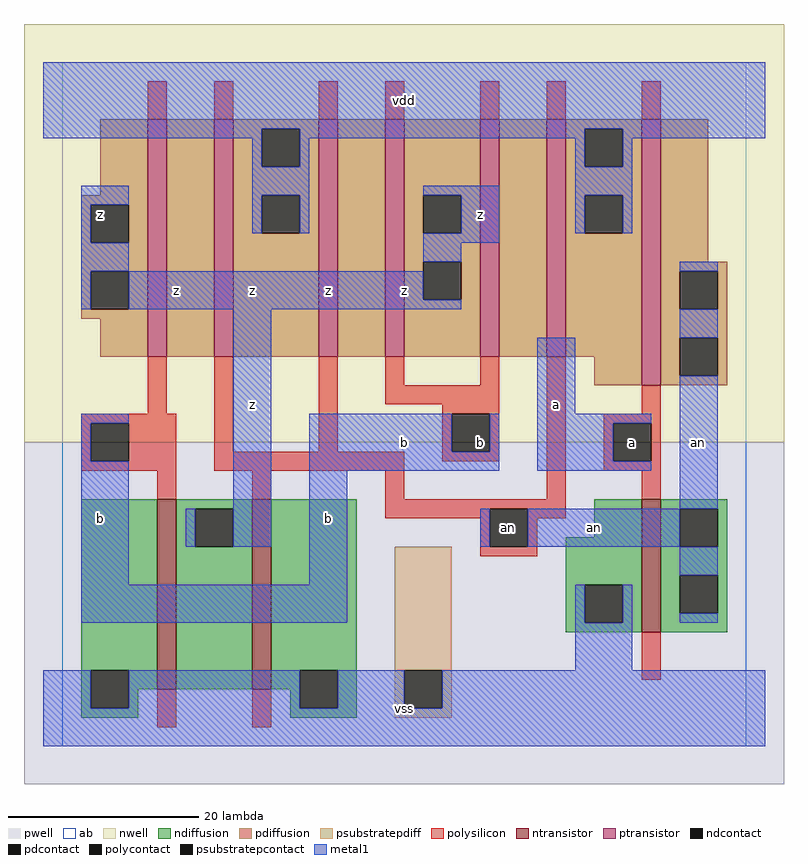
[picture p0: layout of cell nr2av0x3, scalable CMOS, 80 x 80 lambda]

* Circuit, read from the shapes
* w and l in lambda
.subckt nr2av0x3 a an b vdd vss z
M1 z b vss vss nfet w=20 l=2
M2 vss an z vss nfet w=20 l=2
M3 an a vss vss nfet w=14 l=2
M4 n1 b z n2 pfet w=25 l=2
M5 vdd an n1 n2 pfet w=25 l=2
M6 n3 an vdd n2 pfet w=25 l=2
M7 z b n3 n2 pfet w=25 l=2
M8 n4 b z n2 pfet w=25 l=2
M9 vdd an n4 n2 pfet w=25 l=2
M10 an a vdd n2 pfet w=28 l=2
.ends

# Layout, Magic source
magic
tech scmos
<< ab >>
rect 0 0 72 72
<< pwell >>
rect -4 -4 76 32
<< nwell >>
rect -4 32 76 76
<< polysilicon >>
rect 9 66 11 70
rect 16 66 18 70
rect 27 66 29 70
rect 34 66 36 70
rect 44 66 46 70
rect 51 66 53 70
rect 61 66 63 70
rect 9 35 11 41
rect 2 34 12 35
rect 2 30 3 34
rect 7 30 12 34
rect 2 29 12 30
rect 16 31 18 41
rect 27 31 29 41
rect 34 38 36 41
rect 44 38 46 41
rect 34 36 46 38
rect 40 35 46 36
rect 40 31 41 35
rect 45 31 46 35
rect 16 29 36 31
rect 40 30 46 31
rect 10 26 12 29
rect 20 26 22 29
rect 34 26 36 29
rect 51 26 53 41
rect 61 35 63 38
rect 57 34 63 35
rect 57 30 58 34
rect 62 30 63 34
rect 57 29 63 30
rect 61 26 63 29
rect 34 25 53 26
rect 34 24 45 25
rect 44 21 45 24
rect 49 24 53 25
rect 49 21 50 24
rect 10 2 12 6
rect 20 2 22 6
rect 44 20 50 21
rect 61 7 63 12
<< ndiffusion >>
rect 2 8 10 26
rect 2 4 3 8
rect 7 6 10 8
rect 12 25 20 26
rect 12 21 14 25
rect 18 21 20 25
rect 12 6 20 21
rect 22 8 31 26
rect 56 22 61 26
rect 22 6 25 8
rect 7 4 8 6
rect 2 3 8 4
rect 24 4 25 6
rect 29 4 31 8
rect 24 3 31 4
rect 53 17 61 22
rect 53 13 55 17
rect 59 13 61 17
rect 53 12 61 13
rect 63 25 70 26
rect 63 21 65 25
rect 69 21 70 25
rect 63 18 70 21
rect 63 14 65 18
rect 69 14 70 18
rect 63 12 70 14
<< pdiffusion >>
rect 4 58 9 66
rect 2 57 9 58
rect 2 53 3 57
rect 7 53 9 57
rect 2 50 9 53
rect 2 46 3 50
rect 7 46 9 50
rect 2 45 9 46
rect 4 41 9 45
rect 11 41 16 66
rect 18 65 27 66
rect 18 61 21 65
rect 25 61 27 65
rect 18 58 27 61
rect 18 54 21 58
rect 25 54 27 58
rect 18 41 27 54
rect 29 41 34 66
rect 36 58 44 66
rect 36 54 38 58
rect 42 54 44 58
rect 36 51 44 54
rect 36 47 38 51
rect 42 47 44 51
rect 36 41 44 47
rect 46 41 51 66
rect 53 65 61 66
rect 53 61 55 65
rect 59 61 61 65
rect 53 58 61 61
rect 53 54 55 58
rect 59 54 61 58
rect 53 41 61 54
rect 56 38 61 41
rect 63 51 68 66
rect 63 50 70 51
rect 63 46 65 50
rect 69 46 70 50
rect 63 43 70 46
rect 63 39 65 43
rect 69 39 70 43
rect 63 38 70 39
<< metal1 >>
rect -2 65 74 72
rect -2 64 21 65
rect 20 61 21 64
rect 25 64 55 65
rect 25 61 26 64
rect 2 57 7 59
rect 2 53 3 57
rect 20 58 26 61
rect 54 61 55 64
rect 59 64 74 65
rect 59 61 60 64
rect 20 54 21 58
rect 25 54 26 58
rect 38 58 46 59
rect 42 54 46 58
rect 54 58 60 61
rect 54 54 55 58
rect 59 54 60 58
rect 2 50 7 53
rect 38 53 46 54
rect 38 51 42 53
rect 2 46 3 50
rect 7 47 38 50
rect 7 46 42 47
rect 65 50 69 51
rect 2 34 7 35
rect 2 30 3 34
rect 2 17 7 30
rect 13 21 14 25
rect 18 21 22 46
rect 65 43 69 46
rect 50 35 54 43
rect 26 31 41 35
rect 45 31 46 35
rect 26 29 46 31
rect 50 34 62 35
rect 50 30 58 34
rect 50 29 62 30
rect 26 17 30 29
rect 65 25 69 39
rect 44 21 45 25
rect 49 21 65 25
rect 65 18 69 21
rect 2 13 30 17
rect 54 13 55 17
rect 59 13 60 17
rect 65 13 69 14
rect 54 8 60 13
rect -2 4 3 8
rect 7 4 25 8
rect 29 4 36 8
rect 40 4 74 8
rect -2 0 74 4
<< ntransistor >>
rect 10 6 12 26
rect 20 6 22 26
rect 61 12 63 26
<< ptransistor >>
rect 9 41 11 66
rect 16 41 18 66
rect 27 41 29 66
rect 34 41 36 66
rect 44 41 46 66
rect 51 41 53 66
rect 61 38 63 66
<< polycontact >>
rect 3 30 7 34
rect 41 31 45 35
rect 58 30 62 34
rect 45 21 49 25
<< ndcontact >>
rect 3 4 7 8
rect 14 21 18 25
rect 25 4 29 8
rect 55 13 59 17
rect 65 21 69 25
rect 65 14 69 18
<< pdcontact >>
rect 3 53 7 57
rect 3 46 7 50
rect 21 61 25 65
rect 21 54 25 58
rect 38 54 42 58
rect 38 47 42 51
rect 55 61 59 65
rect 55 54 59 58
rect 65 46 69 50
rect 65 39 69 43
<< psubstratepcontact >>
rect 36 4 40 8
<< psubstratepdiff >>
rect 35 8 41 21
rect 35 4 36 8
rect 40 4 41 8
rect 35 3 41 4
<< labels >>
rlabel polycontact 47 23 47 23 6 an
rlabel metal1 4 24 4 24 6 b
rlabel metal1 12 48 12 48 6 z
rlabel pdcontact 4 56 4 56 6 z
rlabel metal1 28 24 28 24 6 b
rlabel metal1 20 36 20 36 6 z
rlabel metal1 20 48 20 48 6 z
rlabel metal1 28 48 28 48 6 z
rlabel metal1 36 4 36 4 6 vss
rlabel metal1 36 32 36 32 6 b
rlabel polycontact 44 32 44 32 6 b
rlabel metal1 52 36 52 36 6 a
rlabel metal1 36 48 36 48 6 z
rlabel metal1 44 56 44 56 6 z
rlabel metal1 36 68 36 68 6 vdd
rlabel metal1 56 23 56 23 6 an
rlabel polycontact 60 32 60 32 6 a
rlabel metal1 67 32 67 32 6 an
<< end >>
